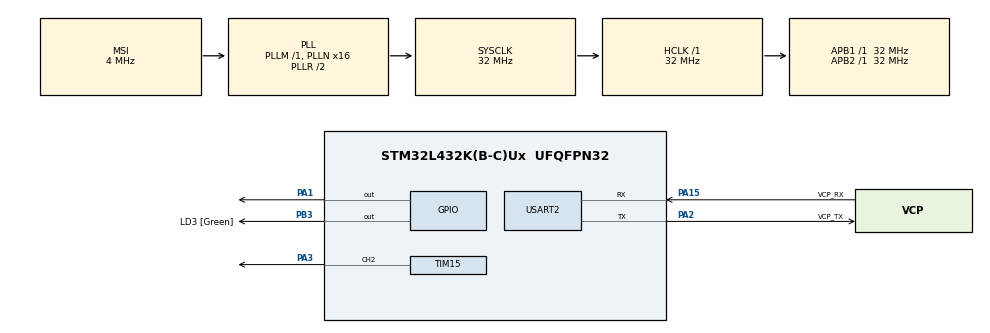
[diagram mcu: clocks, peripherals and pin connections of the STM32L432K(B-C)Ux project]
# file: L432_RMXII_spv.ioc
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Mcu.Family=STM32L4
Mcu.Name=STM32L432K(B-C)Ux
Mcu.Package=UFQFPN32
NVIC.PriorityGroup=NVIC_PRIORITYGROUP_4
NVIC.TIM6_DAC_IRQn=true\:0\:0\:false\:false\:true\:true\:true\:true
PA0.GPIO_Label=MCO [High speed clock in]
PA0.Mode=HSE-External-Clock-Source-for-LittleOrca
PA0.Signal=RCC_CK_IN
PA1.GPIO_ModeDefaultOutputPP=GPIO_MODE_OUTPUT_OD
PA1.GPIO_PuPd=GPIO_PULLUP
PA1.PinState=GPIO_PIN_SET
PA1.Signal=GPIO_Output
PA13\ (JTMS-SWDIO).GPIO_Label=SWDIO
PA13\ (JTMS-SWDIO).Mode=Serial_Wire
PA13\ (JTMS-SWDIO).Signal=SYS_JTMS-SWDIO
PA14\ (JTCK-SWCLK).GPIO_Label=SWCLK
PA14\ (JTCK-SWCLK).Mode=Serial_Wire
PA14\ (JTCK-SWCLK).Signal=SYS_JTCK-SWCLK
PA15\ (JTDI).GPIO_Label=VCP_RX
PA15\ (JTDI).Mode=Asynchronous
PA15\ (JTDI).Signal=USART2_RX
PA2.GPIO_Label=VCP_TX
PA2.Mode=Asynchronous
PA2.Signal=USART2_TX
PA3.Signal=S_TIM15_CH2
PB3\ (JTDO-TRACESWO).GPIO_Label=LD3 [Green]
PB3\ (JTDO-TRACESWO).Signal=GPIO_Output
PC14-OSC32_IN\ (PC14).Mode=LSE-External-Oscillator
PC14-OSC32_IN\ (PC14).Signal=RCC_OSC32_IN
PC15-OSC32_OUT\ (PC15).Mode=LSE-External-Oscillator
PC15-OSC32_OUT\ (PC15).Signal=RCC_OSC32_OUT
ProjectManager.HeapSize=0x200
ProjectManager.StackSize=0x400
ProjectManager.TargetToolchain=STM32CubeIDE
RCC.AHBFreq_Value=32000000
RCC.APB1Freq_Value=32000000
RCC.APB1TimFreq_Value=32000000
RCC.APB2Freq_Value=32000000
RCC.APB2TimFreq_Value=32000000
RCC.CortexFreq_Value=32000000
RCC.HCLKFreq_Value=32000000
RCC.HSE_VALUE=8000000
RCC.HSI16_VALUE=16000000
RCC.HSI48_VALUE=48000000
RCC.HSI_VALUE=16000000
RCC.MSI_VALUE=4000000
RCC.PLLMUL=RCC_PLLMUL_4
RCC.PLLN=16
RCC.SYSCLKFreq_VALUE=32000000
RCC.SYSCLKSource=RCC_SYSCLKSOURCE_PLLCLK
RCC.VCOOutputFreq_Value=64000000
SH.S_TIM15_CH2.0=TIM15_CH2,Output Compare2 CH2
TIM15.Channel-Output\ Compare2\ CH2=TIM_CHANNEL_2
TIM15.OCIdleState_2=TIM_OCIDLESTATE_SET
TIM15.OCMode_2=TIM_OCMODE_ACTIVE
TIM15.OCPolarity_2=TIM_OCPOLARITY_LOW
TIM15.Period=10000
TIM15.Prescaler=31
TIM15.Pulse-Output\ Compare2\ CH2=30
TIM6.Prescaler=31
USART2.VirtualMode-Asynchronous=VM_ASYNC
VP_TIM15_VS_ClockSourceINT.Mode=Internal
VP_TIM15_VS_OPM.Mode=OPM_bit
VP_TIM6_VS_ClockSourceINT.Mode=Enable_Timer
board=NUCLEO-L432KC

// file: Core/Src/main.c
/* USER CODE BEGIN Header */
/**
  ******************************************************************************
  * @file           : main.c
  * @brief          : Main program body
  ******************************************************************************
  * @attention
  *
  * Copyright (c) 2024 STMicroelectronics.
  * All rights reserved.
  *
  * This software is licensed under terms that can be found in the LICENSE file
  * in the root directory of this software component.
  * If no LICENSE file comes with this software, it is provided AS-IS.
  *
  ******************************************************************************
  */
/* USER CODE END Header */
#include "main.h"

TIM_HandleTypeDef htim6;
TIM_HandleTypeDef htim15;

UART_HandleTypeDef huart2;

/* USER CODE BEGIN PV */
uint64_t _micro;

uint8_t counter = 0;
struct _timestamp{
	uint32_t one;
	uint64_t micro;
} timestamp;
/* USER CODE END PV */

void SystemClock_Config(void);
static void MX_GPIO_Init(void);
static void MX_USART2_UART_Init(void);
static void MX_TIM6_Init(void);
static void MX_TIM15_Init(void);
/* USER CODE BEGIN PFP */
uint64_t micros();
/* USER CODE END PFP */

int main(void)
{

  /* MCU Configuration--------------------------------------------------------*/

  /* Reset of all peripherals, Initializes the Flash interface and the Systick. */
  HAL_Init();

  /* Configure the system clock */
  SystemClock_Config();

  /* Initialize all configured peripherals */
  MX_GPIO_Init();
  MX_USART2_UART_Init();
  MX_TIM6_Init();
  MX_TIM15_Init();
  /* USER CODE BEGIN 2 */

  //// delay start wait
  //HAL_TIM_Base_Start_IT(&htim6);

  HAL_GPIO_WritePin(GPIOA, GPIO_PIN_1, GPIO_PIN_SET);
  HAL_Delay(50);

  HAL_TIM_Base_Start(&htim15);

  HAL_GPIO_WritePin(GPIOA, GPIO_PIN_1, GPIO_PIN_RESET);
  //// delay 30 uS
//  timestamp.micro = _micro + 30;
//  while(timestamp.micro >= _micro){}

  for(register int i = 0; i < 30; i++){
	  counter++;
	  counter--;
	  counter = 8 / 2;
	  __asm("NOP");
  }

  HAL_GPIO_WritePin(GPIOA, GPIO_PIN_1, GPIO_PIN_SET);

  /* USER CODE END 2 */

  /* Infinite loop */
  while (1)
  {

  }
}

void SystemClock_Config(void)
{
  RCC_OscInitTypeDef RCC_OscInitStruct = {0};
  RCC_ClkInitTypeDef RCC_ClkInitStruct = {0};

  /** Configure the main internal regulator output voltage
  */
  if (HAL_PWREx_ControlVoltageScaling(PWR_REGULATOR_VOLTAGE_SCALE1) != HAL_OK)
  {
    Error_Handler();
  }

  /** Configure LSE Drive Capability
  */
  HAL_PWR_EnableBkUpAccess();
  __HAL_RCC_LSEDRIVE_CONFIG(RCC_LSEDRIVE_LOW);

  /** Initializes the RCC Oscillators according to the specified parameters
  * in the RCC_OscInitTypeDef structure.
  */
  RCC_OscInitStruct.OscillatorType = RCC_OSCILLATORTYPE_LSE|RCC_OSCILLATORTYPE_MSI;
  RCC_OscInitStruct.LSEState = RCC_LSE_ON;
  RCC_OscInitStruct.MSIState = RCC_MSI_ON;
  RCC_OscInitStruct.MSICalibrationValue = 0;
  RCC_OscInitStruct.MSIClockRange = RCC_MSIRANGE_6;
  RCC_OscInitStruct.PLL.PLLState = RCC_PLL_ON;
  RCC_OscInitStruct.PLL.PLLSource = RCC_PLLSOURCE_MSI;
  RCC_OscInitStruct.PLL.PLLM = 1;
  RCC_OscInitStruct.PLL.PLLN = 16;
  RCC_OscInitStruct.PLL.PLLP = RCC_PLLP_DIV7;
  RCC_OscInitStruct.PLL.PLLQ = RCC_PLLQ_DIV2;
  RCC_OscInitStruct.PLL.PLLR = RCC_PLLR_DIV2;
  if (HAL_RCC_OscConfig(&RCC_OscInitStruct) != HAL_OK)
  {
    Error_Handler();
  }

  /** Initializes the CPU, AHB and APB buses clocks
  */
  RCC_ClkInitStruct.ClockType = RCC_CLOCKTYPE_HCLK|RCC_CLOCKTYPE_SYSCLK
                              |RCC_CLOCKTYPE_PCLK1|RCC_CLOCKTYPE_PCLK2;
  RCC_ClkInitStruct.SYSCLKSource = RCC_SYSCLKSOURCE_PLLCLK;
  RCC_ClkInitStruct.AHBCLKDivider = RCC_SYSCLK_DIV1;
  RCC_ClkInitStruct.APB1CLKDivider = RCC_HCLK_DIV1;
  RCC_ClkInitStruct.APB2CLKDivider = RCC_HCLK_DIV1;

  if (HAL_RCC_ClockConfig(&RCC_ClkInitStruct, FLASH_LATENCY_1) != HAL_OK)
  {
    Error_Handler();
  }

  /** Enable MSI Auto calibration
  */
  HAL_RCCEx_EnableMSIPLLMode();
}

static void MX_TIM6_Init(void)
{

  TIM_MasterConfigTypeDef sMasterConfig = {0};

  htim6.Instance = TIM6;
  htim6.Init.Prescaler = 31;
  htim6.Init.CounterMode = TIM_COUNTERMODE_UP;
  htim6.Init.Period = 65535;
  htim6.Init.AutoReloadPreload = TIM_AUTORELOAD_PRELOAD_DISABLE;
  if (HAL_TIM_Base_Init(&htim6) != HAL_OK)
  {
    Error_Handler();
  }
  sMasterConfig.MasterOutputTrigger = TIM_TRGO_RESET;
  sMasterConfig.MasterSlaveMode = TIM_MASTERSLAVEMODE_DISABLE;
  if (HAL_TIMEx_MasterConfigSynchronization(&htim6, &sMasterConfig) != HAL_OK)
  {
    Error_Handler();
  }

}

static void MX_TIM15_Init(void)
{

  TIM_ClockConfigTypeDef sClockSourceConfig = {0};
  TIM_MasterConfigTypeDef sMasterConfig = {0};
  TIM_OC_InitTypeDef sConfigOC = {0};
  TIM_BreakDeadTimeConfigTypeDef sBreakDeadTimeConfig = {0};

  htim15.Instance = TIM15;
  htim15.Init.Prescaler = 31;
  htim15.Init.CounterMode = TIM_COUNTERMODE_UP;
  htim15.Init.Period = 10000;
  htim15.Init.ClockDivision = TIM_CLOCKDIVISION_DIV1;
  htim15.Init.RepetitionCounter = 0;
  htim15.Init.AutoReloadPreload = TIM_AUTORELOAD_PRELOAD_DISABLE;
  if (HAL_TIM_Base_Init(&htim15) != HAL_OK)
  {
    Error_Handler();
  }
  sClockSourceConfig.ClockSource = TIM_CLOCKSOURCE_INTERNAL;
  if (HAL_TIM_ConfigClockSource(&htim15, &sClockSourceConfig) != HAL_OK)
  {
    Error_Handler();
  }
  if (HAL_TIM_OC_Init(&htim15) != HAL_OK)
  {
    Error_Handler();
  }
  if (HAL_TIM_OnePulse_Init(&htim15, TIM_OPMODE_SINGLE) != HAL_OK)
  {
    Error_Handler();
  }
  sMasterConfig.MasterOutputTrigger = TIM_TRGO_RESET;
  sMasterConfig.MasterSlaveMode = TIM_MASTERSLAVEMODE_DISABLE;
  if (HAL_TIMEx_MasterConfigSynchronization(&htim15, &sMasterConfig) != HAL_OK)
  {
    Error_Handler();
  }
  sConfigOC.OCMode = TIM_OCMODE_ACTIVE;
  sConfigOC.Pulse = 30;
  sConfigOC.OCPolarity = TIM_OCPOLARITY_LOW;
  sConfigOC.OCNPolarity = TIM_OCNPOLARITY_HIGH;
  sConfigOC.OCFastMode = TIM_OCFAST_DISABLE;
  sConfigOC.OCIdleState = TIM_OCIDLESTATE_SET;
  sConfigOC.OCNIdleState = TIM_OCNIDLESTATE_RESET;
  if (HAL_TIM_OC_ConfigChannel(&htim15, &sConfigOC, TIM_CHANNEL_2) != HAL_OK)
  {
    Error_Handler();
  }
  sBreakDeadTimeConfig.OffStateRunMode = TIM_OSSR_DISABLE;
  sBreakDeadTimeConfig.OffStateIDLEMode = TIM_OSSI_DISABLE;
  sBreakDeadTimeConfig.LockLevel = TIM_LOCKLEVEL_OFF;
  sBreakDeadTimeConfig.DeadTime = 0;
  sBreakDeadTimeConfig.BreakState = TIM_BREAK_DISABLE;
  sBreakDeadTimeConfig.BreakPolarity = TIM_BREAKPOLARITY_HIGH;
  sBreakDeadTimeConfig.AutomaticOutput = TIM_AUTOMATICOUTPUT_DISABLE;
  if (HAL_TIMEx_ConfigBreakDeadTime(&htim15, &sBreakDeadTimeConfig) != HAL_OK)
  {
    Error_Handler();
  }
  HAL_TIM_MspPostInit(&htim15);

}

static void MX_USART2_UART_Init(void)
{

  huart2.Instance = USART2;
  huart2.Init.BaudRate = 115200;
  huart2.Init.WordLength = UART_WORDLENGTH_8B;
  huart2.Init.StopBits = UART_STOPBITS_1;
  huart2.Init.Parity = UART_PARITY_NONE;
  huart2.Init.Mode = UART_MODE_TX_RX;
  huart2.Init.HwFlowCtl = UART_HWCONTROL_NONE;
  huart2.Init.OverSampling = UART_OVERSAMPLING_16;
  huart2.Init.OneBitSampling = UART_ONE_BIT_SAMPLE_DISABLE;
  huart2.AdvancedInit.AdvFeatureInit = UART_ADVFEATURE_NO_INIT;
  if (HAL_UART_Init(&huart2) != HAL_OK)
  {
    Error_Handler();
  }

}

static void MX_GPIO_Init(void)
{
  GPIO_InitTypeDef GPIO_InitStruct = {0};

  /* GPIO Ports Clock Enable */
  __HAL_RCC_GPIOC_CLK_ENABLE();
  __HAL_RCC_GPIOA_CLK_ENABLE();
  __HAL_RCC_GPIOB_CLK_ENABLE();

  /*Configure GPIO pin Output Level */
  HAL_GPIO_WritePin(GPIOA, GPIO_PIN_1, GPIO_PIN_SET);

  /*Configure GPIO pin Output Level */
  HAL_GPIO_WritePin(LD3_GPIO_Port, LD3_Pin, GPIO_PIN_RESET);

  /*Configure GPIO pin : PA1 */
  GPIO_InitStruct.Pin = GPIO_PIN_1;
  GPIO_InitStruct.Mode = GPIO_MODE_OUTPUT_OD;
  GPIO_InitStruct.Pull = GPIO_PULLUP;
  GPIO_InitStruct.Speed = GPIO_SPEED_FREQ_LOW;
  HAL_GPIO_Init(GPIOA, &GPIO_InitStruct);

  /*Configure GPIO pin : LD3_Pin */
  GPIO_InitStruct.Pin = LD3_Pin;
  GPIO_InitStruct.Mode = GPIO_MODE_OUTPUT_PP;
  GPIO_InitStruct.Pull = GPIO_NOPULL;
  GPIO_InitStruct.Speed = GPIO_SPEED_FREQ_LOW;
  HAL_GPIO_Init(LD3_GPIO_Port, &GPIO_InitStruct);

}

/* USER CODE BEGIN 4 */

void HAL_TIM_PeriodElapsedCallback(TIM_HandleTypeDef *htim)
{
	if(htim == &htim6){
		_micro += 65535;
	}

}

uint64_t micros() {
	return _micro + htim6.Instance->CNT;
}
/* USER CODE END 4 */

void Error_Handler(void)
{
  __disable_irq();
  while (1)
  {
  }
}
